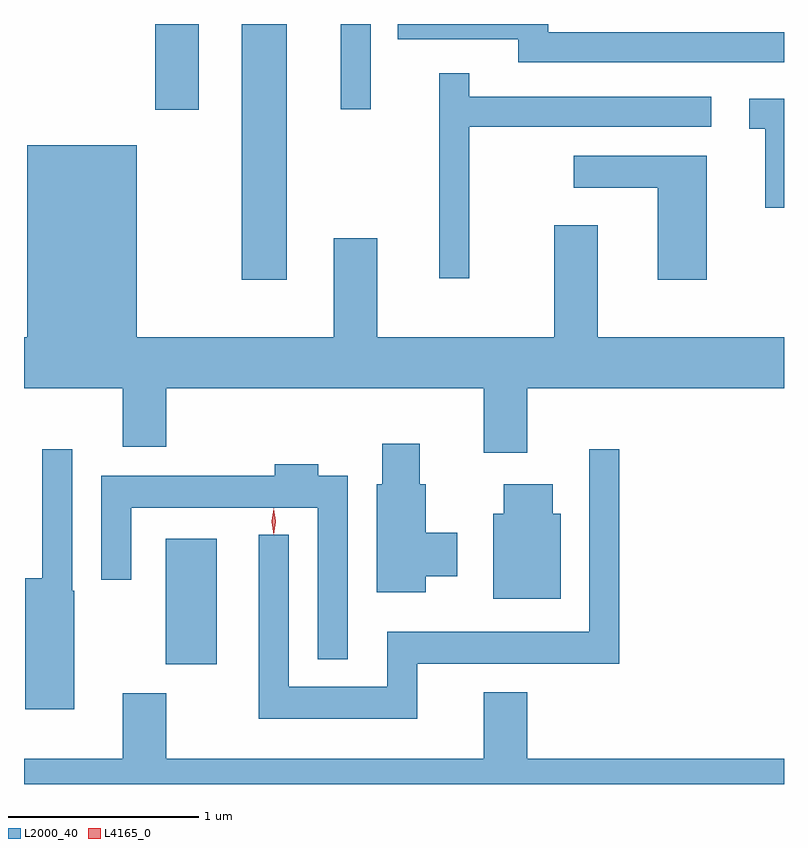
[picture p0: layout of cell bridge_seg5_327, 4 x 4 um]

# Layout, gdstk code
import gdstk
lib = gdstk.Library(unit=1e-6, precision=1e-09)
def R(c, l, rs):  # rectangles x0, y0, x1, y1
    for r in rs: c.add(gdstk.rectangle(r[:2], r[2:], *l))
def P(c, l, *ps):  # polygons
    for p in ps: c.add(gdstk.Polygon(p, *l))
L2000_40 = (2000, 40)
L4165_0 = (4165, 0)

bridge_seg5_327 = lib.new_cell('bridge_seg5_327')
R(bridge_seg5_327, L2000_40, [(776.186,1439.801,776.454,1440.464), (776.586,1441.826,776.824,1443.172), (776.131,1442.721,776.359,1443.172), (777.106,1442.723,777.264,1443.172)])
P(bridge_seg5_327, L2000_40, [(779.44,1443.129),(778.199,1443.129),(778.199,1443.172),(777.408,1443.172),(777.408,1443.091),(778.041,1443.091),(778.041,1442.971),(779.44,1442.971)],
  [(777.784,1442.631),(779.058,1442.631),(779.058,1442.789),(777.784,1442.789),(777.784,1442.913),(777.626,1442.913),(777.626,1441.833),(777.784,1441.833)],
  [(779.44,1442.779),(779.258,1442.779),(779.258,1442.621),(779.341,1442.621),(779.341,1442.206),(779.44,1442.206)],
  [(778.089,1441.256),(779.44,1441.256),(779.44,1441.524),(778.459,1441.524),(778.459,1442.114),(778.231,1442.114),(778.231,1441.524),(777.299,1441.524),(777.299,1442.044),(777.071,1442.044),(777.071,1441.524),(776.034,1441.524),(776.034,1442.534),(775.456,1442.534),(775.456,1441.524),(775.44,1441.524),(775.44,1441.256),(775.961,1441.256),(775.961,1440.946),(776.189,1440.946),(776.189,1441.256),(777.861,1441.256),(777.861,1440.916),(778.089,1440.916)],
  [(779.034,1442.479),(778.333,1442.479),(778.333,1442.311),(778.776,1442.311),(778.776,1441.826),(779.034,1441.826)],
  [(777.554,1440.266),(777.719,1440.266),(777.719,1440.494),(777.554,1440.494),(777.554,1440.749),(777.524,1440.749),(777.524,1440.964),(777.326,1440.964),(777.326,1440.749),(777.296,1440.749),(777.296,1440.181),(777.554,1440.181)],
  [(775.704,1440.19),(775.694,1440.19),(775.694,1440.933),(775.536,1440.933),(775.536,1440.254),(775.446,1440.254),(775.446,1439.566),(775.704,1439.566)],
  [(777.509,1439.806),(778.574,1439.806),(778.574,1440.933),(778.416,1440.933),(778.416,1439.974),(777.351,1439.974),(777.351,1439.684),(776.834,1439.684),(776.834,1440.483),(776.676,1440.483),(776.676,1439.516),(777.509,1439.516)],
  [(777.144,1440.794),(776.989,1440.794),(776.989,1440.854),(776.761,1440.854),(776.761,1440.794),(775.846,1440.794),(775.846,1440.248),(776.004,1440.248),(776.004,1440.626),(776.986,1440.626),(776.986,1439.828),(777.144,1439.828)],
  [(778.264,1440.594),(778.224,1440.594),(778.224,1440.749),(777.966,1440.749),(777.966,1440.594),(777.911,1440.594),(777.911,1440.146),(778.264,1440.146)],
  [(779.44,1439.304),(778.089,1439.304),(778.089,1439.654),(777.861,1439.654),(777.861,1439.304),(776.189,1439.304),(776.189,1439.649),(775.961,1439.649),(775.961,1439.304),(775.44,1439.304),(775.44,1439.172),(779.44,1439.172)])
P(bridge_seg5_327, L4165_0, [(776.754,1440.487),(776.754,1440.487),(776.744,1440.554),(776.754,1440.62),(776.754,1440.62),(776.754,1440.62),(776.764,1440.554),(776.755,1440.487)],
  [(776.754,1440.484),(776.745,1440.553),(776.754,1440.622),(776.755,1440.623),(776.755,1440.622),(776.765,1440.553),(776.755,1440.484),(776.755,1440.484)])

lib.write_gds('bridge_seg5_327.gds')
